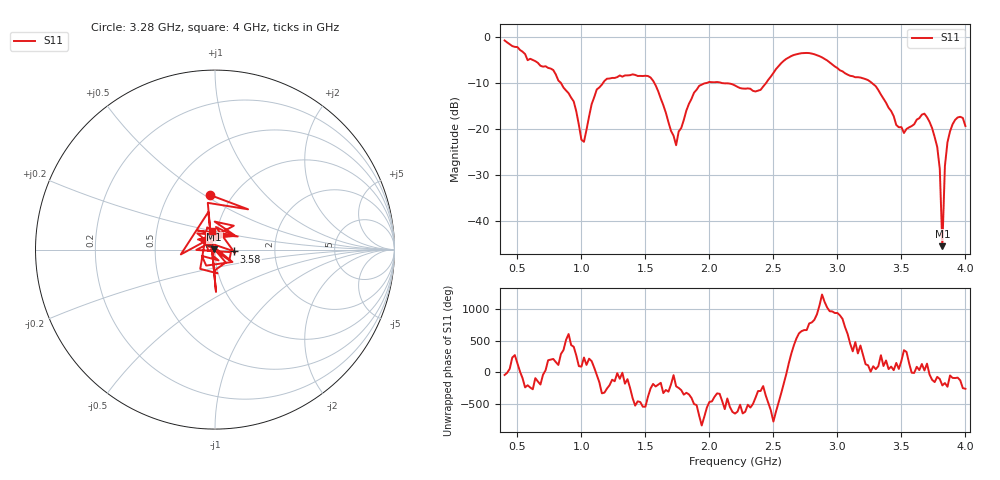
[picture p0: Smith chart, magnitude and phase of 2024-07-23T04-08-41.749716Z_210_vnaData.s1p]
!Created with skrf (http://scikit-rf.org).
# Hz S RI R 50.0
!freq ReS11 ImS11
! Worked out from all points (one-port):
!   181 points, 400 MHz to 4 GHz, reference 50 ohm
!   lowest |S11| = -45.5 dB at 3.82 GHz (marker M1), VSWR 1.01, Z = 49.5 + j0.237 ohm
!   |S11| at or under -10 dB: 1.569 GHz to 1.982 GHz (412.5 MHz wide, 23.2 % of centre); 2.093 GHz to 2.443 GHz (350.4 MHz wide, 15.4 % of centre); 3.268 GHz to end of sweep (the widest 3 of 4)
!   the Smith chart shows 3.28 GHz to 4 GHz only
!   S11 on the Smith chart (normalised r, x): 3.28 GHz: 0.79, +0.53; 3.58 GHz: 1.24, -0.03; 4 GHz: 0.94, +0.20
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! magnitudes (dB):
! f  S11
! 400 MHz  -0.8
! 780 MHz  -7.2
! 860 MHz  -11.0
! 940 MHz  -14.0
! 1.02 GHz  -22.8
! 1.12 GHz  -11.4
! 1.3 GHz  -8.4
! 1.54 GHz  -8.8
! 1.74 GHz  -23.6
! 1.76 GHz  -20.6
! 1.92 GHz  -10.7
! 2.2 GHz  -10.6
! 2.4 GHz  -11.5
! 2.66 GHz  -3.9
! 2.84 GHz  -4.0
! 3.1 GHz  -8.5
! 3.28 GHz  -10.3
! 3.46 GHz  -19.2
! 3.56 GHz  -19.7
! 3.58 GHz  -19.4
! 3.68 GHz  -16.7
! 3.78 GHz  -23.9
! 3.8 GHz  -28.8
! 3.82 GHz  -45.5
! 3.84 GHz  -28.1
! 3.86 GHz  -22.9
! 3.94 GHz  -17.5
! 4 GHz  -19.4
